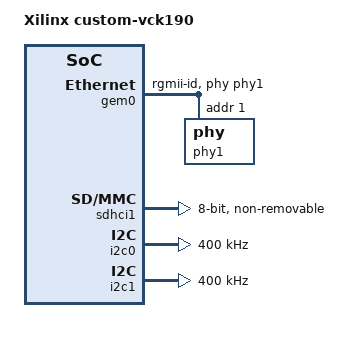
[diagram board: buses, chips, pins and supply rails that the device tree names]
/*
Copyright (C) 2023, Advanced Micro Devices, Inc. All rights reserved.
SPDX-License-Identifier: MIT
*/

/ {
	compatible = "xlnx,versal";
	model = "Xilinx custom-vck190";
	chosen {
	bootargs = "console=ttyAMA0 earlycon=pl011,mmio32,0xFF000000,115200n8 clk_ignore_unused root=/dev/mmcblk0p2 rw rootwait cma=512M";
		};

	aliases {
			serial0 = &serial0;
			ethernet0 = &gem0;
			i2c0 = &i2c0;
			i2c1 = &i2c1;
			mmc0 = &sdhci1;
			usb0 = &usb0;
		};

   };

&gem0 { /* PMC_MIO_48, LPD_MIO0-11/24/25 */
	phy-handle = <&phy1>; /* u128 */
	phy-mode = "rgmii-id";
	phy1: phy@1 {
		reg = <1>;
		ti,rx-internal-delay = <0xb>;
		ti,tx-internal-delay = <0xa>;
		ti,fifo-depth = <1>;
		ti,dp83867-rxctrl-strap-quirk;
	};
};
&sdhci1 { /* emmc MIO 0-13 - MTFC8GAKAJCN */
	non-removable;
	disable-wp;
	bus-width = <8>;
	xlnx,mio-bank = <0>;
	no-1-8-v;
};
&i2c0 { /* PMC_MIO46/47 */
	clock-frequency = <400000>;
};

&i2c1 { /* PMC_MIO44/45 */
	clock-frequency = <400000>;
};
&usb0 { /* PMC_MIO13_500 - PMC_MIO25 USB 2.0 */
	xlnx,usb-polarity = <0x0>;
	xlnx,usb-reset-mode = <0x0>;
};
